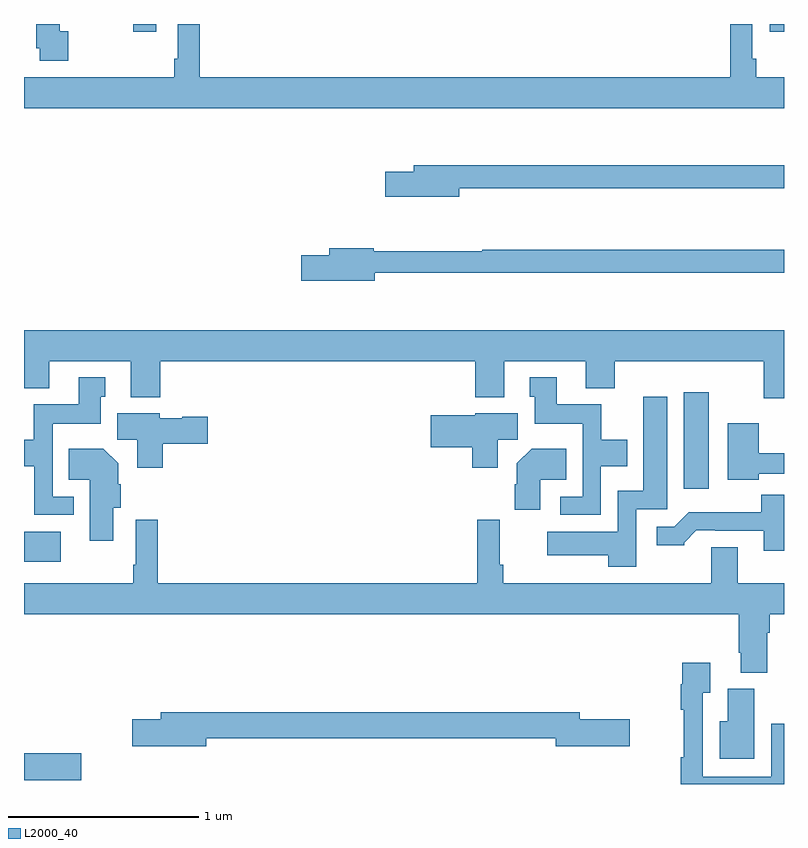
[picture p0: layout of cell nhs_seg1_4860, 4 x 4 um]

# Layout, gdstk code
import gdstk
lib = gdstk.Library(unit=1e-6, precision=1e-09)
def R(c, l, rs):  # rectangles x0, y0, x1, y1
    for r in rs: c.add(gdstk.rectangle(r[:2], r[2:], *l))
def P(c, l, *ps):  # polygons
    for p in ps: c.add(gdstk.Polygon(p, *l))
L2000_40 = (2000, 40)

nhs_seg1_4860 = lib.new_cell('nhs_seg1_4860')
R(nhs_seg1_4860, L2000_40, [(375,524.218,375.301,524.36), (375,525.368,375.193,525.526), (378.473,525.753,378.604,526.261), (375.575,528.159,375.697,528.199), (378.926,528.159,379,528.199)])
P(nhs_seg1_4860, L2000_40, [(375.234,528.162),(375.187,528.162),(375.187,528.199),(375.065,528.199),(375.065,528.072),(375.082,528.072),(375.082,528.006),(375.234,528.006)],
  [(379,527.92),(378.854,527.92),(378.854,528.016),(378.834,528.016),(378.834,528.199),(378.718,528.199),(378.718,527.92),(375.926,527.92),(375.926,528.199),(375.81,528.199),(375.81,528.016),(375.79,528.016),(375.79,527.92),(375,527.92),(375,527.756),(379,527.756)],
  [(377.29,527.334),(379,527.334),(379,527.455),(377.051,527.455),(377.051,527.421),(376.902,527.421),(376.902,527.291),(377.29,527.291)],
  [(376.846,526.89),(379,526.89),(379,527.011),(377.411,527.011),(377.411,527.003),(376.842,527.003),(376.842,527.018),(376.607,527.018),(376.607,526.982),(376.458,526.982),(376.458,526.847),(376.846,526.847)],
  [(379,526.588),(375,526.588),(375,526.283),(375.133,526.283),(375.133,526.424),(375.563,526.424),(375.563,526.235),(375.716,526.235),(375.716,526.424),(377.375,526.424),(377.375,526.235),(377.527,526.235),(377.527,526.424),(377.957,526.424),(377.957,526.283),(378.11,526.283),(378.11,526.424),(378.893,526.424),(378.893,526.23),(379,526.23)],
  [(375.262,525.711),(375.15,525.711),(375.15,526.094),(375.403,526.094),(375.403,526.236),(375.427,526.236),(375.427,526.339),(375.287,526.339),(375.287,526.198),(375.052,526.198),(375.052,526.012),(375,526.012),(375,525.872),(375.054,525.872),(375.054,525.615),(375.262,525.615)],
  [(378.036,525.872),(378.175,525.872),(378.175,526.012),(378.039,526.012),(378.039,526.198),(377.803,526.198),(377.803,526.339),(377.663,526.339),(377.663,526.236),(377.687,526.236),(377.687,526.094),(377.94,526.094),(377.94,525.711),(377.823,525.711),(377.823,525.615),(378.036,525.615)],
  [(378.222,525.645),(378.385,525.645),(378.385,526.237),(378.26,526.237),(378.26,525.742),(378.126,525.742),(378.126,525.526),(377.754,525.526),(377.754,525.404),(378.074,525.404),(378.074,525.342),(378.222,525.342)],
  [(375.731,525.989),(375.967,525.989),(375.967,526.131),(375.834,526.131),(375.834,526.123),(375.714,526.123),(375.714,526.15),(375.491,526.15),(375.491,526.012),(375.596,526.012),(375.596,525.864),(375.731,525.864)],
  [(377.494,526.012),(377.599,526.012),(377.599,526.15),(377.376,526.15),(377.376,526.141),(377.142,526.141),(377.142,525.971),(377.36,525.971),(377.36,525.864),(377.494,525.864)],
  [(378.868,525.831),(379,525.831),(379,525.94),(378.868,525.94),(378.868,526.099),(378.704,526.099),(378.704,525.8),(378.868,525.8)],
  [(375.469,525.654),(375.509,525.654),(375.509,525.776),(375.496,525.776),(375.496,525.886),(375.418,525.964),(375.235,525.964),(375.235,525.8),(375.347,525.8),(375.347,525.48),(375.469,525.48)],
  [(377.716,525.8),(377.855,525.8),(377.855,525.964),(377.672,525.964),(377.594,525.886),(377.594,525.776),(377.582,525.776),(377.582,525.642),(377.716,525.642)],
  [(379,525.721),(378.881,525.721),(378.881,525.628),(378.499,525.628),(378.423,525.552),(378.33,525.552),(378.33,525.455),(378.474,525.455),(378.474,525.47),(378.538,525.534),(378.637,525.534),(378.637,525.531),(378.893,525.531),(378.893,525.426),(379,525.426)],
  [(378.617,525.446),(378.617,525.256),(377.522,525.256),(377.522,525.352),(377.505,525.352),(377.505,525.589),(377.386,525.589),(377.386,525.256),(375.704,525.256),(375.704,525.589),(375.588,525.589),(375.588,525.352),(375.576,525.352),(375.576,525.256),(375,525.256),(375,525.092),(378.761,525.092),(378.761,524.89),(378.773,524.89),(378.773,524.785),(378.913,524.785),(378.913,524.996),(378.926,524.996),(378.926,525.092),(379,525.092),(379,525.256),(378.757,525.256),(378.757,525.446)],
  [(379,524.515),(378.933,524.515),(378.933,524.238),(378.573,524.238),(378.573,524.68),(378.613,524.68),(378.613,524.836),(378.465,524.836),(378.465,524.723),(378.457,524.723),(378.457,524.591),(378.472,524.591),(378.472,524.339),(378.457,524.339),(378.457,524.199),(379,524.199)],
  [(378.844,524.7),(378.704,524.7),(378.704,524.53),(378.662,524.53),(378.662,524.333),(378.844,524.333)],
  [(375.958,524.44),(377.798,524.44),(377.798,524.398),(378.187,524.398),(378.187,524.54),(377.926,524.54),(377.926,524.576),(375.719,524.576),(375.719,524.54),(375.57,524.54),(375.57,524.398),(375.958,524.398)])

lib.write_gds('nhs_seg1_4860.gds')
